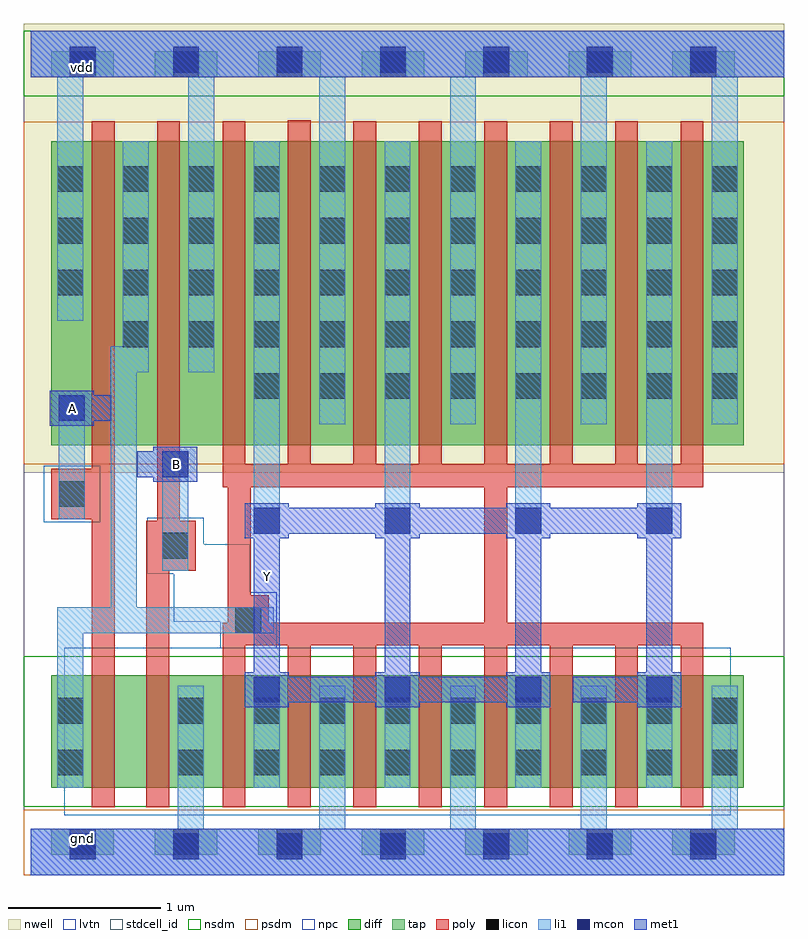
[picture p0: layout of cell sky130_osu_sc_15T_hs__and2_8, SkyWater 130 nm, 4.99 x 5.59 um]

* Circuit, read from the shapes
.subckt sky130_osu_sc_15T_hs__and2_8 A B Y gnd vdd
XM1 n1 A n2 gnd sky130_fd_pr__nfet_01v8_lvt w=0.74 l=0.15
XM2 gnd B n1 gnd sky130_fd_pr__nfet_01v8_lvt w=0.74 l=0.15
XM3 Y n2 gnd gnd sky130_fd_pr__nfet_01v8_lvt w=0.74 l=0.15 m=8
XM4 n2 A vdd vdd sky130_fd_pr__pfet_01v8 w=2 l=0.15
XM5 vdd B n2 vdd sky130_fd_pr__pfet_01v8 w=2 l=0.15
XM6 Y n2 vdd vdd sky130_fd_pr__pfet_01v8 w=2 l=0.15 m=8
.ends

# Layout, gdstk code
import gdstk
lib = gdstk.Library(unit=1e-6, precision=1e-09)
def R(c, l, rs):  # rectangles x0, y0, x1, y1
    for r in rs: c.add(gdstk.rectangle(r[:2], r[2:], *l))
def A(c, l, x, y, w, h, nx, ny, dx, dy):  # array of equal rectangles
    R(c, l, [(x+i*dx, y+j*dy, x+i*dx+w, y+j*dy+h) for i in range(nx) for j in range(ny)])
nwell = (64, 20)
diff = (65, 20)
tap = (65, 44)
poly = (66, 20)
licon = (66, 44)
li1 = (67, 20)
mcon = (67, 44)
met1 = (68, 20)
stdcell_id = (81, 4)
nsdm = (93, 44)
psdm = (94, 20)
npc = (95, 20)
lvtn = (125, 44)

sky130_osu_sc_15t_hs__an = lib.new_cell('sky130_osu_sc_15T_hs__and2_8')
R(sky130_osu_sc_15t_hs__an, nwell, [(-0.045,2.645,4.95,5.595)])
R(sky130_osu_sc_15t_hs__an, diff, [(0.135,0.575,4.685,1.315), (0.135,2.825,4.685,4.825)])
A(sky130_osu_sc_15t_hs__an, tap, 0.135, 0.135, 0.41, 0.17, 7, 2, 0.68, 5.11)
A(sky130_osu_sc_15t_hs__an, poly, 1.26, 0.445, 0.15, 1.065, 8, 1, 0.43, 0)
A(sky130_osu_sc_15t_hs__an, poly, 2.12, 2.7, 0.15, 2.255, 6, 1, 0.43, 0)
R(sky130_osu_sc_15t_hs__an, poly, [(0.4,0.445,0.55,2.34), (0.76,0.445,0.91,2), (1.26,1.51,4.42,1.66), (1.295,1.66,1.565,1.84), (2.98,1.66,3.13,2.55), (1.295,1.84,1.445,2.55), (0.76,2,1.085,2.33), (0.83,2.33,0.98,4.955), (0.135,2.34,0.55,2.67), (1.26,2.55,4.42,2.7), (0.4,2.67,0.55,4.955), (1.26,2.7,1.41,4.955), (1.69,2.7,1.84,4.96)])
A(sky130_osu_sc_15t_hs__an, licon, 0.255, 0.135, 0.17, 0.17, 7, 2, 0.68, 5.11)
A(sky130_osu_sc_15t_hs__an, licon, 1.465, 0.655, 0.17, 0.17, 8, 2, 0.43, 0.34)
A(sky130_osu_sc_15t_hs__an, licon, 1.465, 3.13, 0.17, 0.17, 8, 1, 0.43, 0)
A(sky130_osu_sc_15t_hs__an, licon, 0.605, 3.47, 0.17, 0.17, 10, 1, 0.43, 0)
A(sky130_osu_sc_15t_hs__an, licon, 0.175, 3.81, 0.17, 0.17, 11, 3, 0.43, 0.34)
R(sky130_osu_sc_15t_hs__an, licon, [(0.175,0.655,0.345,0.825), (0.965,0.655,1.135,0.825), (0.175,0.995,0.345,1.165), (0.965,0.995,1.135,1.165), (1.345,1.59,1.515,1.76), (0.865,2.08,1.035,2.25), (0.185,2.42,0.355,2.59)])
A(sky130_osu_sc_15t_hs__an, li1, 1.895, 0.305, 0.17, 0.94, 4, 1, 0.86, 0)
A(sky130_osu_sc_15t_hs__an, li1, 1.465, 0.575, 0.17, 0.73, 4, 1, 0.86, 0)
A(sky130_osu_sc_15t_hs__an, li1, 1.465, 2.245, 0.17, 2.58, 4, 1, 0.86, 0)
A(sky130_osu_sc_15t_hs__an, li1, 1.895, 2.965, 0.17, 2.28, 4, 1, 0.86, 0)
R(sky130_osu_sc_15t_hs__an, li1, [(0,0,4.95,0.305), (0.965,0.305,1.135,1.245), (0.175,0.575,0.345,1.59), (0.175,1.59,1.595,1.76), (0.525,1.76,0.695,3.305), (0.865,2,1.035,2.785), (0.185,2.34,0.355,3.155), (0.525,3.305,0.775,3.475), (1.035,3.305,1.205,5.245), (0.605,3.475,0.775,4.825), (0.175,3.645,0.345,5.245), (0,5.245,4.95,5.55)])
A(sky130_osu_sc_15t_hs__an, mcon, 0.255, 0.105, 0.17, 0.17, 7, 2, 0.68, 5.17)
A(sky130_osu_sc_15t_hs__an, mcon, 1.465, 1.135, 0.17, 0.17, 4, 2, 0.86, 1.11)
R(sky130_osu_sc_15t_hs__an, mcon, [(0.865,2.615,1.035,2.785), (0.185,2.985,0.355,3.155)])
A(sky130_osu_sc_15t_hs__an, met1, 1.405, 1.105, 0.29, 0.03, 4, 2, 0.86, 0.2)
A(sky130_osu_sc_15t_hs__an, met1, 1.465, 1.335, 0.17, 0.88, 4, 1, 0.86, 0)
A(sky130_osu_sc_15t_hs__an, met1, 1.405, 2.215, 0.29, 0.03, 4, 2, 0.86, 0.2)
R(sky130_osu_sc_15t_hs__an, met1, [(0,0,4.95,0.305), (1.405,1.135,3.415,1.305), (3.56,1.135,4.275,1.305), (1.405,2.245,4.275,2.415), (0.805,2.585,1.095,2.615), (0.7,2.615,1.095,2.785), (0.805,2.785,1.095,2.815), (0.125,2.955,0.415,2.985), (0.125,2.985,0.525,3.155), (0.125,3.155,0.415,3.185), (0,5.245,4.95,5.55)])
R(sky130_osu_sc_15t_hs__an, stdcell_id, [(-0.045,0,4.95,5.55)])
R(sky130_osu_sc_15t_hs__an, nsdm, [(-0.045,0.45,4.95,1.44), (-0.045,5.12,4.95,5.55)])
R(sky130_osu_sc_15t_hs__an, psdm, [(-0.045,0,4.95,0.43), (-0.045,2.7,4.95,4.95)])
R(sky130_osu_sc_15t_hs__an, npc, [(1.245,1.49,1.615,1.665), (0.94,1.665,1.615,1.86), (0.94,1.86,1.44,1.98), (0.765,1.98,1.44,2.175), (0.765,2.175,1.135,2.35), (0.085,2.32,0.455,2.69)])
R(sky130_osu_sc_15t_hs__an, lvtn, [(0.22,0.395,4.6,1.495)])
sky130_osu_sc_15t_hs__an.add(gdstk.Label('gnd', (0.34,0.24), layer=68, texttype=16))
sky130_osu_sc_15t_hs__an.add(gdstk.Label('vdd', (0.34,5.31), layer=68, texttype=16))
sky130_osu_sc_15t_hs__an.add(gdstk.Label('B', (0.955,2.7), layer=68, texttype=5))
sky130_osu_sc_15t_hs__an.add(gdstk.Label('A', (0.275,3.07), layer=68, texttype=5))
sky130_osu_sc_15t_hs__an.add(gdstk.Label('Y', (1.555,1.96), layer=68, texttype=5))

lib.write_gds('sky130_osu_sc_15T_hs__and2_8.gds')
